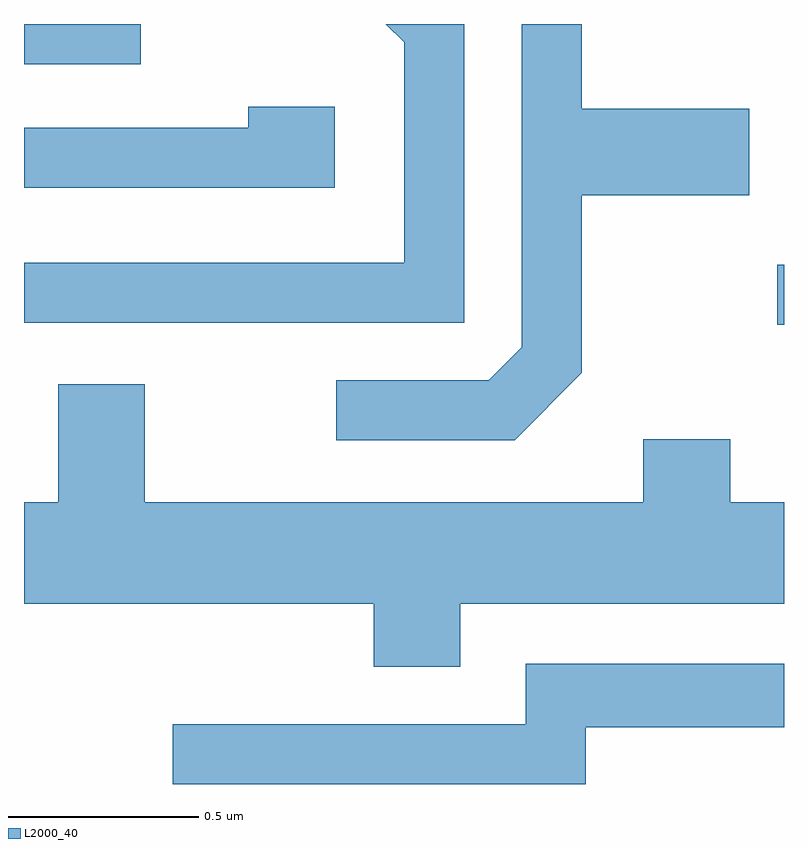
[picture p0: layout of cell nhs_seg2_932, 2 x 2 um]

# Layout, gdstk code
import gdstk
lib = gdstk.Library(unit=1e-6, precision=1e-09)
def R(c, l, rs):  # rectangles x0, y0, x1, y1
    for r in rs: c.add(gdstk.rectangle(r[:2], r[2:], *l))
def P(c, l, *ps):  # polygons
    for p in ps: c.add(gdstk.Polygon(p, *l))
L2000_40 = (2000, 40)

nhs_seg2_932 = lib.new_cell('nhs_seg2_932')
R(nhs_seg2_932, L2000_40, [(193.593,1089.011,193.611,1089.169), (191.611,1089.696,191.918,1089.802)])
P(nhs_seg2_932, L2000_40, [(193.079,1088.884),(193.079,1089.351),(193.519,1089.351),(193.519,1089.579),(193.079,1089.579),(193.079,1089.802),(192.921,1089.802),(192.921,1088.952),(192.834,1088.864),(192.433,1088.864),(192.433,1088.706),(192.902,1088.706)],
  [(192.769,1089.802),(192.563,1089.802),(192.611,1089.754),(192.611,1089.174),(191.611,1089.174),(191.611,1089.016),(192.769,1089.016)],
  [(192.429,1089.584),(192.201,1089.584),(192.201,1089.529),(191.611,1089.529),(191.611,1089.371),(192.429,1089.371)],
  [(192.759,1088.276),(193.611,1088.276),(193.611,1088.544),(193.469,1088.544),(193.469,1088.709),(193.241,1088.709),(193.241,1088.544),(191.929,1088.544),(191.929,1088.854),(191.701,1088.854),(191.701,1088.544),(191.611,1088.544),(191.611,1088.276),(192.531,1088.276),(192.531,1088.111),(192.759,1088.111)],
  [(193.089,1087.951),(193.611,1087.951),(193.611,1088.119),(192.931,1088.119),(192.931,1087.959),(192.003,1087.959),(192.003,1087.802),(193.089,1087.802)])

lib.write_gds('nhs_seg2_932.gds')
